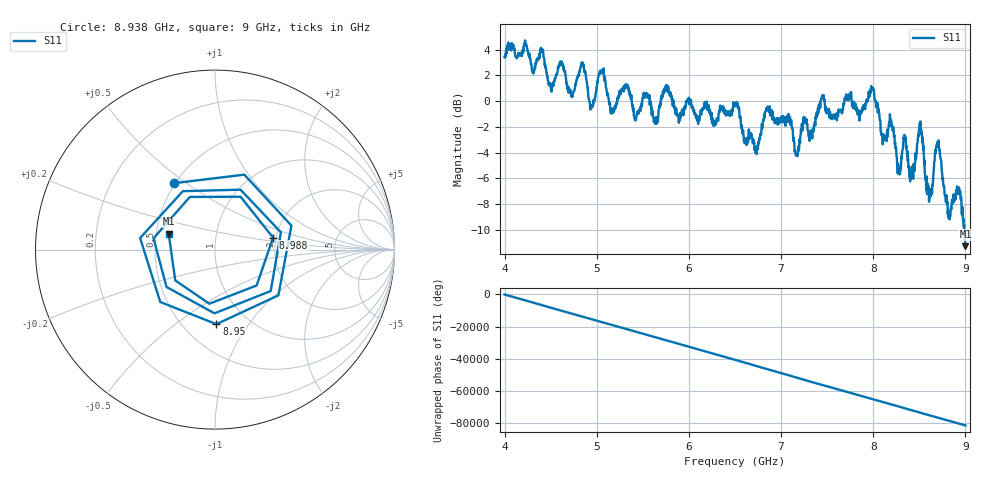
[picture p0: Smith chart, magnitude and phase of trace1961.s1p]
! Created with skrf 1.8.0 (http://scikit-rf.org).
# Hz S RI R 50.0
!freq ReS11 ImS11
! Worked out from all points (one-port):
!   1601 points, 4 GHz to 9 GHz, reference 50 ohm
!   lowest |S11| = -11.3 dB at 9 GHz (marker M1), VSWR 1.75, Z = 29.1 + j5.61 ohm
!   |S11| at or under -10 dB: 8.989727 GHz to end of sweep
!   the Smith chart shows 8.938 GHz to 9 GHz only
!   S11 on the Smith chart (normalised r, x): 8.938 GHz: 0.50, +0.45; 8.95 GHz: 0.72, -0.72; 8.988 GHz: 1.93, +0.29; 9 GHz: 0.58, +0.11
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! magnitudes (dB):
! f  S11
! 4 GHz  3.4
! 4.406 GHz  4.0
! 4.503 GHz  0.9
! 4.625 GHz  2.9
! 4.731 GHz  0.6
! 4.85 GHz  2.7
! 4.938 GHz  -0.4
! 5.05 GHz  2.4
! 5.166 GHz  -0.9
! 5.25 GHz  0.6
! 5.875 GHz  -1.1
! 6.5 GHz  -0.4
! 6.728 GHz  -3.6
! 6.853 GHz  -0.4
! 7.125 GHz  -2.2
! 7.75 GHz  0.5
! 7.988 GHz  1.0
! 8.278 GHz  -5.6
! 8.375 GHz  -4.6
! 8.425 GHz  -5.6
! 8.512 GHz  -1.6
! 8.609 GHz  -7.0
! 8.697 GHz  -3.3
! 8.812 GHz  -8.5
! 8.938 GHz  -7.3
! 8.95 GHz  -7.6
! 8.988 GHz  -9.6
! 9 GHz  -11.3
